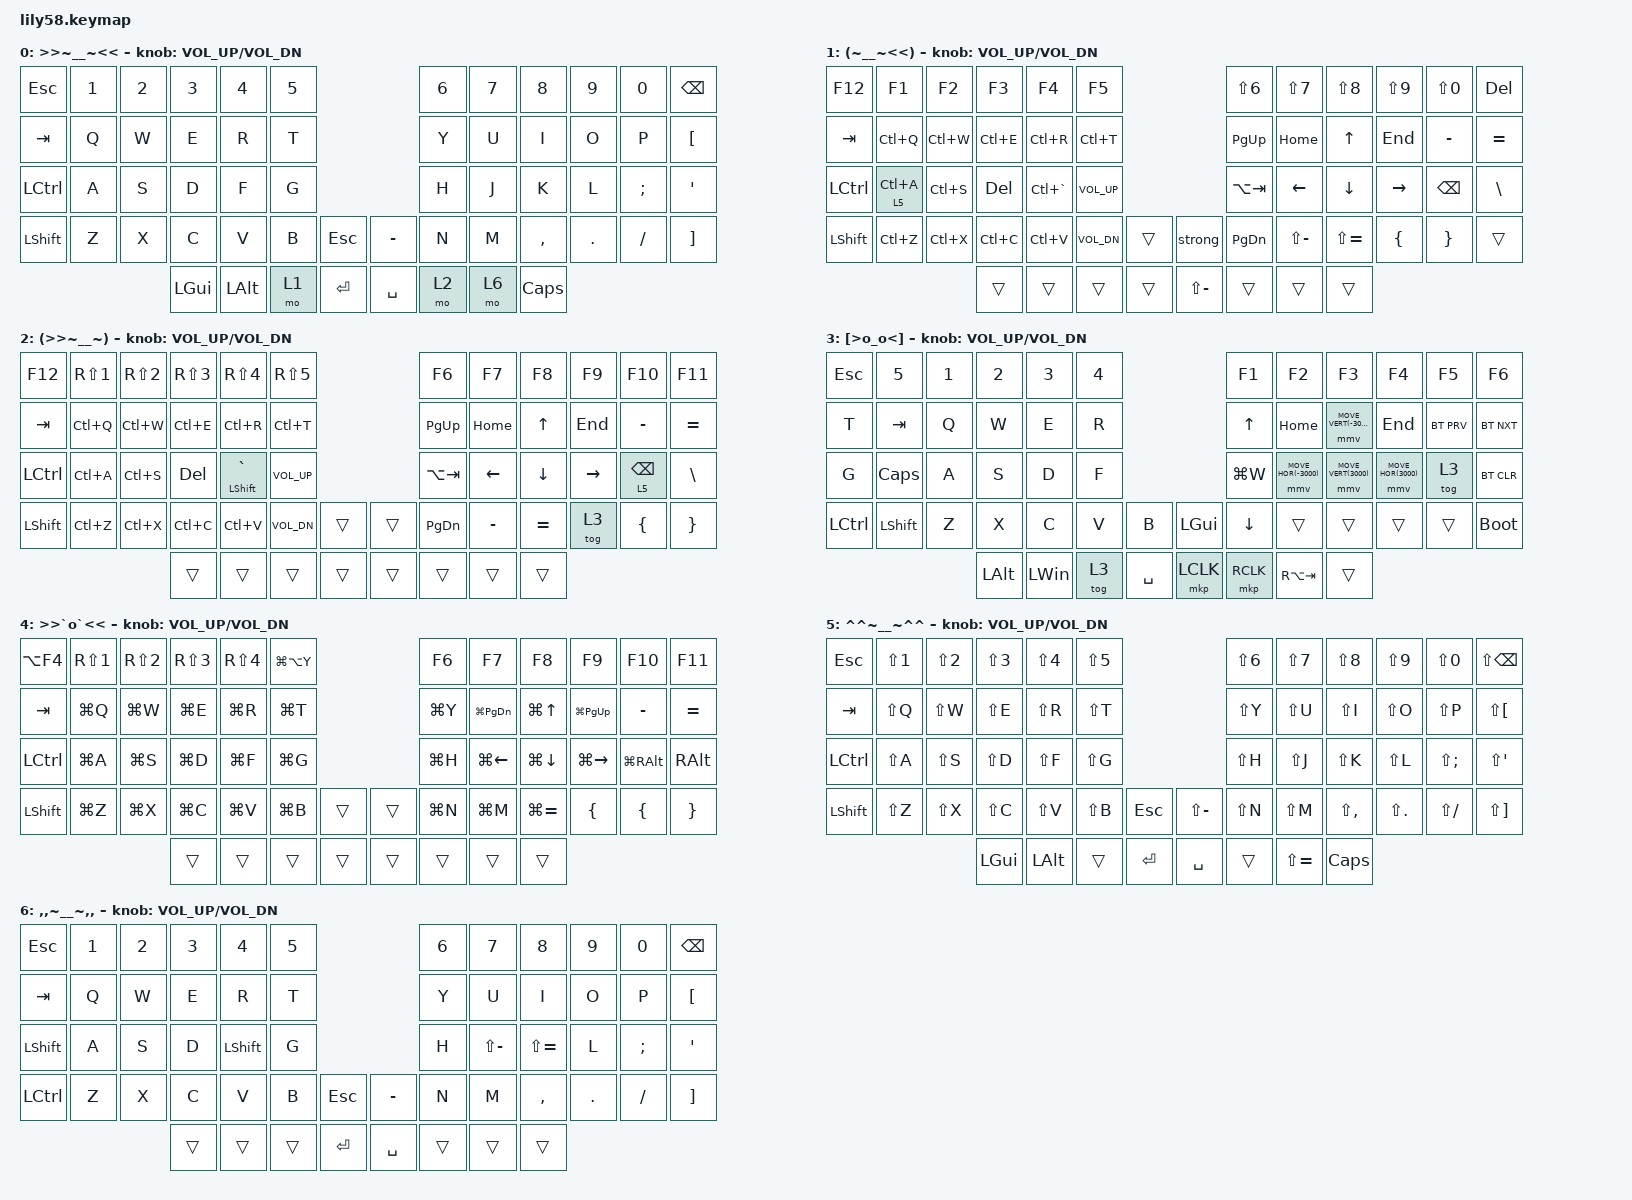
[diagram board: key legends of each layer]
/*
 * Copyright (c) 2020 The ZMK Contributors
 *
 * SPDX-License-Identifier: MIT
 */

#include <behaviors.dtsi>
#include <dt-bindings/zmk/keys.h>
#include <dt-bindings/zmk/bt.h>
#include <dt-bindings/zmk/pointing.h>



&mmv {
    time-to-max-speed-ms = <850>;
    acceleration-exponent=<1>;
};

// &mwh {time-to-max-speed-ms = <1500>;acceleration-exponent=<1>;};
// &mwh SCROLL_LEFT &mwh SCROLL_RIGHT

&mt {
    tapping-term-ms = <200>;
};

/{
    macros {
        strong: strong {
            compatible = "zmk,behavior-macro";
            label = "new_macro";
            #binding-cells = <0>;
            bindings = <
&kp N1 &kp E &kp Q &kp U &kp A &kp L &kp S 
&kp N0 
&kp P &kp O &kp I &kp N &kp T 
&kp N9 
&kp R &kp E &kp P &kp E &kp A &kp T &kp I &kp N &kp G
&kp P &kp A &kp S &kp S &kp W &kp O &kp R &kp D
            >;
        };
    };

    conditional_layers {
        compatible = "zmk,conditional-layers";
        tri_layer {
            if-layers = <1 2>;
            then-layer = <4>;
        };
    };


    keymap {
        compatible = "zmk,keymap";
        base_layer {
            label = ">>~__~<<";
            bindings = <
&kp ESC     &kp N1      &kp N2    &kp N3    &kp N4    &kp N5                                              &kp N6    &kp N7     &kp N8     &kp N9   &kp N0       &kp BSPC
&kp TAB     &kp Q       &kp W     &kp E     &kp R     &kp T                                               &kp Y     &kp U      &kp I      &kp O    &kp P        &kp LBKT
&kp LCTRL   &kp A       &kp S     &kp D     &kp F     &kp G                                               &kp H     &kp J      &kp K      &kp L    &kp SEMI     &kp SQT
&kp LSHFT   &kp Z       &kp X     &kp C     &kp V     &kp B             &kp ESC     &kp MINUS             &kp N     &kp M      &kp COMMA  &kp DOT  &kp FSLH     &kp RBKT
                                  &kp LGUI  &kp LALT  &mo 1             &kp RET     &kp SPACE             &mo 2     &mo 6      &kp CAPS
            >;
            sensor-bindings = <&inc_dec_kp C_VOL_UP C_VOL_DN>;
        };

        left_layer {
            label = "(~__~<<)";
            bindings = <
&kp F12    &kp F1       &kp F2        &kp F3       &kp F4        &kp F5                                          &kp LS(N6)       &kp LS(N7)      &kp LS(N8)     &kp LS(N9) &kp LS(N0)  &kp DEL
&kp TAB    &kp LC(Q)    &kp LC(W)     &kp LC(E)    &kp LC(R)     &kp LC(T)                                       &kp PG_UP        &kp HOME        &kp UP         &kp END    &kp MINUS   &kp EQUAL
&kp LCTRL  &lt 5 LC(A)  &kp LC(S)     &kp DEL      &kp LC(GRAVE) &kp C_VOL_UP                                    &kp LA(TAB)      &kp LEFT        &kp DOWN       &kp RIGHT  &kp BSPC    &kp BSLH
&kp LSHFT  &kp LC(Z)    &kp LC(X)     &kp LC(C)    &kp LC(V)     &kp C_VOL_DN      &trans     &strong            &kp PG_DN        &kp LS(MINUS)   &kp LS(EQUAL)  &kp LBRC   &kp RBRC    &trans
                                      &trans       &trans        &trans            &trans     &kp LS(MINUS)      &trans           &trans          &trans
            >;
            sensor-bindings = <&inc_dec_kp C_VOL_UP C_VOL_DN>;
        };

        right_layer {
            label = "(>>~__~)";
            bindings = <
&kp F12     &kp RS(N1)  &kp RS(N2)    &kp RS(N3)     &kp RS(N4)       &kp RS(N5)                                    &kp F6          &kp F7      &kp F8      &kp F9       &kp F10     &kp F11
&kp TAB     &kp LC(Q)   &kp LC(W)     &kp LC(E)      &kp LC(R)        &kp LC(T)                                     &kp PG_UP       &kp HOME    &kp UP      &kp END      &kp MINUS   &kp EQUAL
&kp LCTRL   &kp LC(A)   &kp LC(S)     &kp DEL        &mt LSHFT GRAVE  &kp C_VOL_UP                                  &kp LA(TAB)     &kp LEFT    &kp DOWN    &kp RIGHT    &lt 5 BSPC  &kp BSLH
&kp LSHFT   &kp LC(Z)   &kp LC(X)     &kp LC(C)      &kp LC(V)        &kp C_VOL_DN      &trans  &trans              &kp PG_DN       &kp MINUS   &kp EQUAL   &tog 3       &kp LBRC    &kp RBRC
                                      &trans         &trans           &trans            &trans  &trans              &trans          &trans      &trans
            >;
            sensor-bindings = <&inc_dec_kp C_VOL_UP C_VOL_DN>;
        };

        game_layer {
            label = " [>o_o<]";
            bindings = <
&kp ESC     &kp N5     &kp N1    &kp N2        &kp N3        &kp N4                                  &kp F1         &kp F2                 &kp F3                 &kp F4              &kp F5      &kp F6
&kp T       &kp TAB    &kp Q     &kp W         &kp E         &kp R                                   &kp UP         &kp HOME               &mmv MOVE_VERT(-3000)  &kp END             &bt BT_PRV  &bt BT_NXT
&kp G       &kp CAPS   &kp A     &kp S         &kp D         &kp F                                   &kp LG(W)      &mmv MOVE_HOR(-3000)   &mmv MOVE_VERT(3000)   &mmv MOVE_HOR(3000) &tog 3      &bt BT_CLR
&kp LCTRL   &kp LSHFT  &kp Z     &kp X         &kp C         &kp V        &kp B      &kp LGUI       &kp DOWN       &trans                 &trans                 &trans              &trans      &bootloader
                                 &kp LEFT_ALT  &kp LEFT_WIN  &tog 3       &kp SPACE  &mkp LCLK       &mkp RCLK      &kp RA(TAB)            &trans
            >;
            sensor-bindings = <&inc_dec_kp C_VOL_UP C_VOL_DN>;
        };

        gui_layer {
            label = ">>`o`<<";
            bindings = <
&kp LA(F4)  &kp RS(N1)  &kp RS(N2)  &kp RS(N3)  &kp RS(N4)   &kp LG(LA(Y))                              &kp F6      &kp F7        &kp F8         &kp F9         &kp F10   &kp F11
&kp TAB     &kp LG(Q)   &kp LG(W)   &kp LG(E)   &kp LG(R)    &kp LG(T)                                  &kp LG(Y)   &kp LG(PG_DN) &kp LG(UP)     &kp LG(PG_UP)  &kp MINUS &kp EQUAL
&kp LCTRL   &kp LG(A)   &kp LG(S)   &kp LG(D)   &kp LG(F)    &kp LG(G)                                  &kp LG(H)   &kp LG(LEFT)  &kp LG(DOWN)   &kp LG(RIGHT)  &kp LG(RALT)  &kp RALT
&kp LSHFT   &kp LG(Z)   &kp LG(X)   &kp LG(C)   &kp LG(V)    &kp LG(B)       &trans  &trans             &kp LG(N)   &kp LG(M)     &kp LG(EQUAL)  &kp LBRC       &kp LBRC  &kp RBRC
                                    &trans      &trans       &trans          &trans  &trans             &trans          &trans        &trans
            >;
            sensor-bindings = <&inc_dec_kp C_VOL_UP C_VOL_DN>;
        };

        caps_layer {
            label = "^^~__~^^";
            bindings = <
&kp ESC     &kp LS(N1)      &kp LS(N2)    &kp LS(N3)    &kp LS(N4)    &kp LS(N5)                                      &kp LS(N6)    &kp LS(N7)     &kp LS(N8)     &kp LS(N9)   &kp LS(N0)       &kp LS(BSPC)
&kp TAB     &kp LS(Q)       &kp LS(W)     &kp LS(E)     &kp LS(R)     &kp LS(T)                                       &kp LS(Y)     &kp LS(U)      &kp LS(I)      &kp LS(O)    &kp LS(P)        &kp LS(LBKT)
&kp LCTRL   &kp LS(A)       &kp LS(S)     &kp LS(D)     &kp LS(F)     &kp LS(G)                                       &kp LS(H)     &kp LS(J)      &kp LS(K)      &kp LS(L)    &kp LS(SEMI)     &kp LS(SQT)
&kp LSHFT   &kp LS(Z)       &kp LS(X)     &kp LS(C)     &kp LS(V)     &kp LS(B)        &kp ESC     &kp LS(MINUS)      &kp LS(N)     &kp LS(M)      &kp LS(COMMA)  &kp LS(DOT)  &kp LS(FSLH)     &kp LS(RBKT)
                                          &kp LGUI      &kp LALT      &trans           &kp RET     &kp SPACE          &trans        &kp LS(EQUAL)  &kp CAPS
            >;
            sensor-bindings = <&inc_dec_kp C_VOL_UP C_VOL_DN>;
        };
        
        alt_layer {
            label = ",,~__~,,";
            bindings = <
&kp ESC     &kp N1      &kp N2    &kp N3    &kp N4    &kp N5                                              &kp N6    &kp N7         &kp N8         &kp N9   &kp N0       &kp BSPC
&kp TAB     &kp Q       &kp W     &kp E     &kp R     &kp T                                               &kp Y     &kp U          &kp I          &kp O    &kp P        &kp LBKT
&kp LSHFT   &kp A       &kp S     &kp D     &kp LSHFT     &kp G                                               &kp H     &kp LS(MINUS)  &kp LS(EQUAL)  &kp L    &kp SEMI     &kp SQT
&kp LCTRL   &kp Z       &kp X     &kp C     &kp V     &kp B             &kp ESC     &kp MINUS             &kp N     &kp M          &kp COMMA      &kp DOT  &kp FSLH     &kp RBKT
                                  &trans    &trans    &trans            &kp RET     &kp SPACE             &trans    &trans     &trans
            >;
            sensor-bindings = <&inc_dec_kp C_VOL_UP C_VOL_DN>;
        };
    };
};
